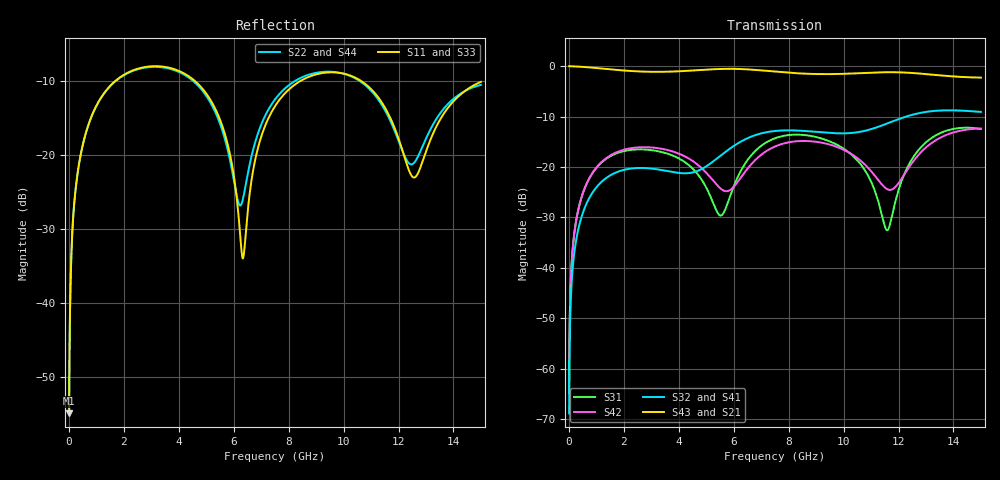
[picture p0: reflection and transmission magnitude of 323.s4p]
! Created with skrf 1.8.0 (http://scikit-rf.org).
# GHz S RI R 50.0
!freq ReS11 ImS11 ReS12 ImS12 ReS13 ImS13
! ReS14 ImS14
! ReS21 ImS21 ReS22 ImS22 ReS23 ImS23
! ReS24 ImS24
! ReS31 ImS31 ReS32 ImS32 ReS33 ImS33
! ReS34 ImS34
! ReS41 ImS41 ReS42 ImS42 ReS43 ImS43
! ReS44 ImS44
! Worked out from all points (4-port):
!   2499 points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, 5 MHz to 15 GHz, reference 50 ohm
!   strongest paths, dB at 5 MHz, 3.476 GHz, 7.19 GHz, 11.1 GHz, 15 GHz:
!     S43: 0.0, -1.1, -0.9, -1.3, -2.3
!     S21: 0.0, -1.1, -0.9, -1.3, -2.3
!     S32: -68.9, -20.7, -13.1, -12.3, -9.1
!     S41: -68.9, -20.8, -13.2, -12.4, -9.2
!     S42: -64.9, -16.5, -16.9, -21.5, -12.4
!     S31: -64.9, -17.2, -15.1, -24.2, -12.5
!   lowest |S11| = -54.9 dB at 5 MHz (marker M1), VSWR 1.00, Z = 50.1 + j0.109 ohm
!   |S11| at or under -10 dB: start of sweep to 1.69 GHz; 4.583 GHz to 8.43 GHz (3.846 GHz wide, 59.1 % of centre); 10.64 GHz to end of sweep
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0.005  0.00143 0.00109  0.9985 -0.00279  7.11e-05 0.000561  -6.92e-05 -0.000353
       0.9985 -0.00279  0.00143 0.00109  -6.92e-05 -0.000353  7.13e-05 0.000561
       7.11e-05 0.000561  -6.92e-05 -0.000353  0.00143 0.00109  0.9985 -0.00279
       -6.92e-05 -0.000353  7.13e-05 0.000561  0.9985 -0.00279  0.00143 0.00109
0.3126303  0.0192 0.0725  0.9739 -0.1746  0.00816 0.0339  -0.0071 -0.0211
           0.9739 -0.1746  0.0191 0.0726  -0.00711 -0.0211  0.00885 0.0337
           0.00816 0.0339  -0.00711 -0.0211  0.0192 0.0725  0.9739 -0.1746
           -0.0071 -0.0211  0.00885 0.0337  0.9739 -0.1746  0.0191 0.0726
1.569404  0.235 0.1893  0.6257 -0.6813  0.1066 0.0749  -0.0822 -0.0184
          0.6257 -0.6813  0.2318 0.191  -0.0824 -0.0182  0.1169 0.0634
          0.1066 0.0749  -0.0824 -0.0182  0.2348 0.1894  0.6257 -0.6813
          -0.0822 -0.0184  0.1169 0.0634  0.6257 -0.6813  0.2319 0.1909
6.065027  0.0232 -0.0553  -0.9249 -0.1588  0.0365 0.0606  -0.0288 0.1633
          -0.9249 -0.1588  0.0471 -0.0347  -0.0242 0.164  -0.0538 0.0394
          0.0365 0.0606  -0.0242 0.164  0.0233 -0.0542  -0.925 -0.1586
          -0.0288 0.1633  -0.0538 0.0394  -0.925 -0.1586  0.046 -0.0334
9.747812  0.3586 -0.0358  0.0171 0.835  0.1419 -0.087  0.203 -0.0618
          0.0171 0.835  0.3587 -0.0482  0.2029 -0.0726  0.1344 -0.0834
          0.1419 -0.087  0.2029 -0.0726  0.3575 -0.0319  0.0161 0.8349
          0.203 -0.0618  0.1344 -0.0834  0.0161 0.8349  0.3608 -0.0511
11.58608  0.1378 -0.1399  0.691 0.528  -0.0225 -0.00678  0.1655 -0.2128
          0.691 0.528  0.1395 -0.1265  0.1523 -0.2224  -0.0523 -0.0299
          -0.0225 -0.00678  0.1523 -0.2224  0.1415 -0.1371  0.6901 0.5293
          0.1655 -0.2128  -0.0523 -0.0299  0.6901 0.5293  0.1357 -0.129
15  0.3037 0.0706  0.4093 -0.6506  0.2369 0.0185  -0.3261 -0.115
    0.4093 -0.6506  0.2942 0.0438  -0.3381 -0.0953  0.2387 -0.0245
    0.2369 0.0185  -0.3381 -0.0953  0.2959 0.0719  0.412 -0.6493
    -0.3261 -0.115  0.2387 -0.0245  0.412 -0.6493  0.3006 0.0432
